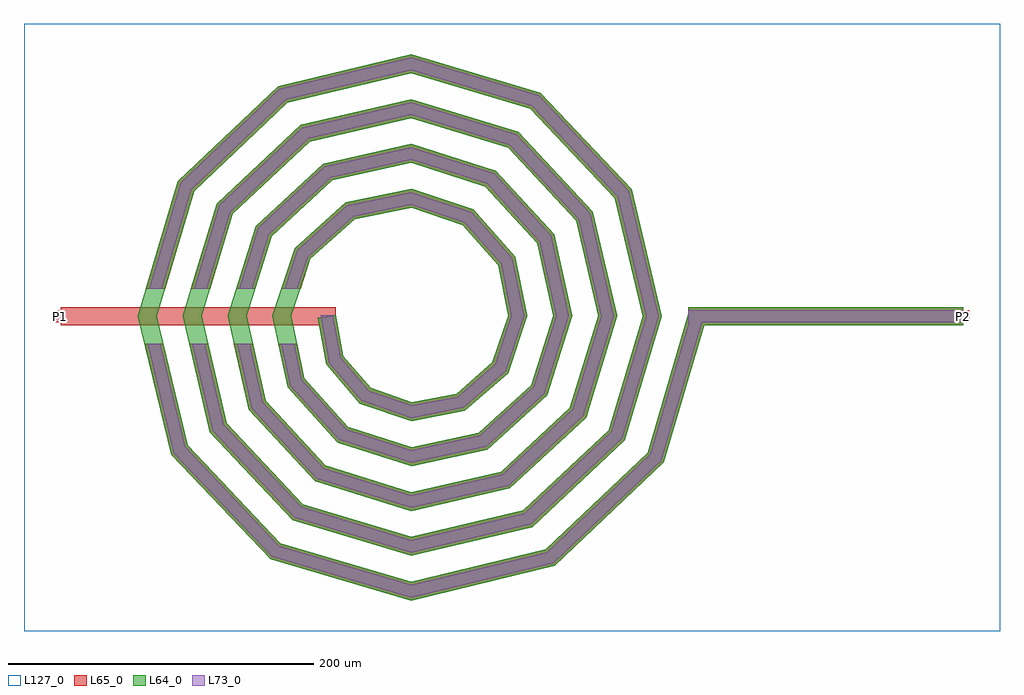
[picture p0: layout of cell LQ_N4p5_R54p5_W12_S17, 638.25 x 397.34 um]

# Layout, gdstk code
import gdstk
lib = gdstk.Library(unit=1e-6, precision=1e-09)
def R(c, l, rs):  # rectangles x0, y0, x1, y1
    for r in rs: c.add(gdstk.rectangle(r[:2], r[2:], *l))
def P(c, l, *ps):  # polygons
    for p in ps: c.add(gdstk.Polygon(p, *l))
L64_0 = (64, 0)
L65_0 = (65, 0)
L73_0 = (73, 0)
L127_0 = (127, 0)

lq_n4p5_r54p5_w12_s17 = lib.new_cell('LQ_N4p5_R54p5_W12_S17')
R(lq_n4p5_r54p5_w12_s17, L64_0, [(181.125,-6,361.125,6)])
P(lq_n4p5_r54p5_w12_s17, L64_0, [(-44.247,-26.113),(-26.501,-46.844),(0.453,-56.262),(29.73,-50.622),(53.166,-30.211),(63.592,0.405),(56.993,33.357),(33.912,59.495),(0.367,70.924),(-36.992,63.36),(-65.827,37.607),(-78.255,0.335),(-69.725,-40.632),(-41.297,-72.163),(0.308,-85.587),(44.276,-76.087),(78.501,-44.984),(92.92,0.286),(82.448,47.923),(48.668,84.84),(0.266,100.252),(-51.573,88.808),(-91.182,52.35),(-107.585,0.249),(-95.166,-55.226),(-56.03,-97.524),(0.234,-114.918),(58.88,-101.524),(103.868,-59.709),(122.251,0.22),(107.881,62.535),(63.386,110.212),(0.209,129.584),(-66.191,114.237),(-116.557,67.062),(-136.917,0.198),(-120.593,-69.849),(-70.737,-122.903),(0.188,-144.25),(73.507,-126.948),(129.249,-74.411),(151.583,0.18),(133.303,77.167),(78.085,135.595),(0.172,158.916),(-80.826,139.657),(-141.942,81.758),(-166.249,0.164),(-146.012,-84.487),(-85.431,-148.289),(0.158,-173.582),(88.148,-152.366),(154.637,-89.103),(181.37,1.695),(192.881,-1.695),(165.24,-95.578),(94.089,-163.277),(0.158,-186.002),(-91.917,-158.886),(-156.929,-90.416),(-178.668,0.164),(-152.531,88.256),(-86.743,150.582),(0.172,171.335),(84.596,146.176),(144.235,83.07),(164.002,0.18),(139.821,-80.936),(79.396,-137.888),(0.188,-156.668),(-77.277,-133.466),(-131.542,-75.721),(-149.334,0.198),(-127.11,73.619),(-72.045,125.196),(0.209,142.001),(69.962,120.753),(118.851,68.369),(134.667,0.22),(114.396,-66.306),(64.691,-112.506),(0.234,-127.334),(-62.651,-108.038),(-106.162,-61.011),(-120,0.249),(-101.679,58.998),(-57.33,99.819),(0.266,112.666),(55.346,95.318),(93.477,53.647),(105.332,0.286),(88.956,-51.697),(49.961,-87.136),(0.308,-97.998),(-48.051,-82.593),(-80.797,-46.272),(-90.663,0.335),(-76.227,44.408),(-42.579,74.46),(0.367,83.328),(40.77,69.858),(68.125,38.88),(75.993,0.405),(63.484,-37.138),(35.174,-61.794),(0.453,-68.657),(-33.514,-57.105),(-55.468,-31.458),(-61.028,-1.08),(-49.224,1.08)])
R(lq_n4p5_r54p5_w12_s17, L65_0, [(-229.126,-6,-49.126,6), (181.125,-6,361.125,6), (-233.126,-4,-225.126,4), (357.125,-4,365.125,4)])
P(lq_n4p5_r54p5_w12_s17, L65_0, [(-146.012,-84.487),(-85.431,-148.289),(0.158,-173.582),(88.148,-152.366),(154.637,-89.103),(181.37,1.695),(192.881,-1.695),(165.24,-95.578),(94.089,-163.277),(0.158,-186.002),(-91.917,-158.886),(-156.929,-90.416),(-174.309,-18),(-161.968,-18)],
  [(-120.593,-69.849),(-70.737,-122.903),(0.188,-144.25),(73.507,-126.948),(129.249,-74.411),(151.583,0.18),(133.303,77.167),(78.085,135.595),(0.172,158.916),(-80.827,139.658),(-141.942,81.758),(-160.86,18),(-173.377,18),(-152.531,88.256),(-86.743,150.582),(0.172,171.335),(84.596,146.176),(144.235,83.07),(164.002,0.18),(139.821,-80.936),(79.396,-137.888),(0.188,-156.668),(-77.278,-133.466),(-131.542,-75.721),(-145.07,-18),(-132.744,-18)],
  [(-95.166,-55.226),(-56.03,-97.524),(0.234,-114.918),(58.88,-101.524),(103.868,-59.709),(122.251,0.221),(107.881,62.535),(63.386,110.212),(0.209,129.584),(-66.191,114.237),(-116.557,67.062),(-131.408,18),(-143.946,18),(-127.11,73.619),(-72.045,125.196),(0.209,142.001),(69.962,120.753),(118.851,68.369),(134.667,0.221),(114.396,-66.306),(64.691,-112.506),(0.234,-127.334),(-62.651,-108.038),(-106.162,-61.011),(-115.878,-18),(-103.575,-18)],
  [(-69.725,-40.632),(-41.297,-72.163),(0.308,-85.587),(44.276,-76.087),(78.501,-44.984),(92.92,0.286),(82.448,47.923),(48.668,84.84),(0.266,100.252),(-51.573,88.808),(-91.182,52.35),(-101.894,18),(-114.464,18),(-101.679,58.998),(-57.33,99.819),(0.266,112.666),(55.346,95.318),(93.477,53.647),(105.332,0.286),(88.957,-51.697),(49.961,-87.136),(0.308,-97.998),(-48.051,-82.593),(-80.797,-46.272),(-86.782,-18),(-74.516,-18)],
  [(-26.501,-46.844),(0.453,-56.262),(29.73,-50.622),(53.166,-30.211),(63.592,0.405),(56.993,33.357),(33.912,59.495),(0.367,70.924),(-36.992,63.36),(-65.827,37.607),(-72.25,18),(-84.877,18),(-76.227,44.408),(-42.579,74.46),(0.367,83.328),(40.77,69.858),(68.125,38.88),(75.993,0.405),(63.484,-37.138),(35.174,-61.794),(0.453,-68.657),(-33.514,-57.105),(-55.468,-31.458),(-61.028,-1.08),(-49.224,1.08),(-44.247,-26.113)])
R(lq_n4p5_r54p5_w12_s17, L73_0, [(181.125,-4,361.125,4)])
P(lq_n4p5_r54p5_w12_s17, L73_0, [(-147.831,-85.475),(-86.512,-150.055),(0.105,-175.652),(89.138,-154.184),(156.404,-90.182),(183.288,1.13),(190.962,-1.13),(163.473,-94.499),(93.099,-161.459),(0.105,-183.932),(-90.836,-157.12),(-155.11,-89.428),(-172.252,-18),(-164.025,-18)],
  [(-122.418,-70.828),(-71.827,-124.663),(0.126,-146.319),(74.489,-128.771),(131.011,-75.499),(153.653,0.12),(135.125,78.151),(79.17,137.359),(0.114,160.986),(-81.813,141.478),(-143.707,82.841),(-162.946,18),(-171.29,18),(-150.766,87.173),(-85.757,148.761),(0.114,169.265),(83.511,144.413),(142.413,82.086),(161.932,0.12),(138.059,-79.849),(78.414,-136.065),(0.126,-154.598),(-76.187,-131.705),(-129.717,-74.742),(-143.015,-18),(-134.799,-18)],
  [(-96.999,-56.19),(-57.134,-99.277),(0.156,-116.987),(59.848,-103.354),(105.622,-60.808),(124.32,0.147),(109.709,63.507),(64.482,111.969),(0.139,131.653),(-67.167,116.064),(-118.316,68.155),(-133.498,18),(-141.856,18),(-125.351,72.526),(-71.07,123.369),(0.139,139.931),(68.866,118.996),(117.022,67.396),(132.598,0.147),(112.641,-65.206),(63.722,-110.676),(0.156,-125.264),(-61.548,-106.286),(-104.329,-60.047),(-113.827,-18),(-105.626,-18)],
  [(-71.57,-41.572),(-42.423,-73.901),(0.206,-87.656),(45.223,-77.929),(80.243,-46.103),(94.989,0.19),(84.286,48.877),(49.781,86.587),(0.177,102.321),(-52.533,90.643),(-92.931,53.458),(-103.989,18),(-112.369,18),(-99.929,57.89),(-56.371,97.984),(0.177,110.597),(54.233,93.572),(91.639,52.693),(103.263,0.19),(87.214,-50.578),(49.014,-85.294),(0.206,-95.929),(-46.925,-80.854),(-78.951,-45.332),(-84.737,-18),(-76.56,-18)],
  [(-27.67,-48.554),(0.302,-58.328),(30.637,-52.484),(54.886,-31.365),(65.659,0.27),(58.848,34.278),(35.055,61.222),(0.245,72.991),(-37.923,65.21),(-67.56,38.74),(-74.354,18),(-82.772,18),(-74.493,43.275),(-41.648,72.61),(0.245,81.261),(39.627,68.13),(66.27,37.959),(73.926,0.27),(61.765,-35.983),(34.267,-59.932),(0.302,-66.591),(-32.345,-55.395),(-53.598,-30.567),(-59.061,0.72),(-51.192,0.72),(-46.117,-27.004)])
R(lq_n4p5_r54p5_w12_s17, L127_0, [(-253.126,-206.002,385.125,191.335)])
lq_n4p5_r54p5_w12_s17.add(gdstk.Label('P2', (361.125,0), layer=65, texttype=0))
lq_n4p5_r54p5_w12_s17.add(gdstk.Label('P1', (-229.126,0), layer=65, texttype=0))
lq_n4p5_r54p5_w12_s17.add(gdstk.Label('P2', (365.125,0), layer=145, texttype=0))
lq_n4p5_r54p5_w12_s17.add(gdstk.Label('P1', (-233.126,0), layer=145, texttype=0))

lib.write_gds('LQ_N4p5_R54p5_W12_S17.gds')
